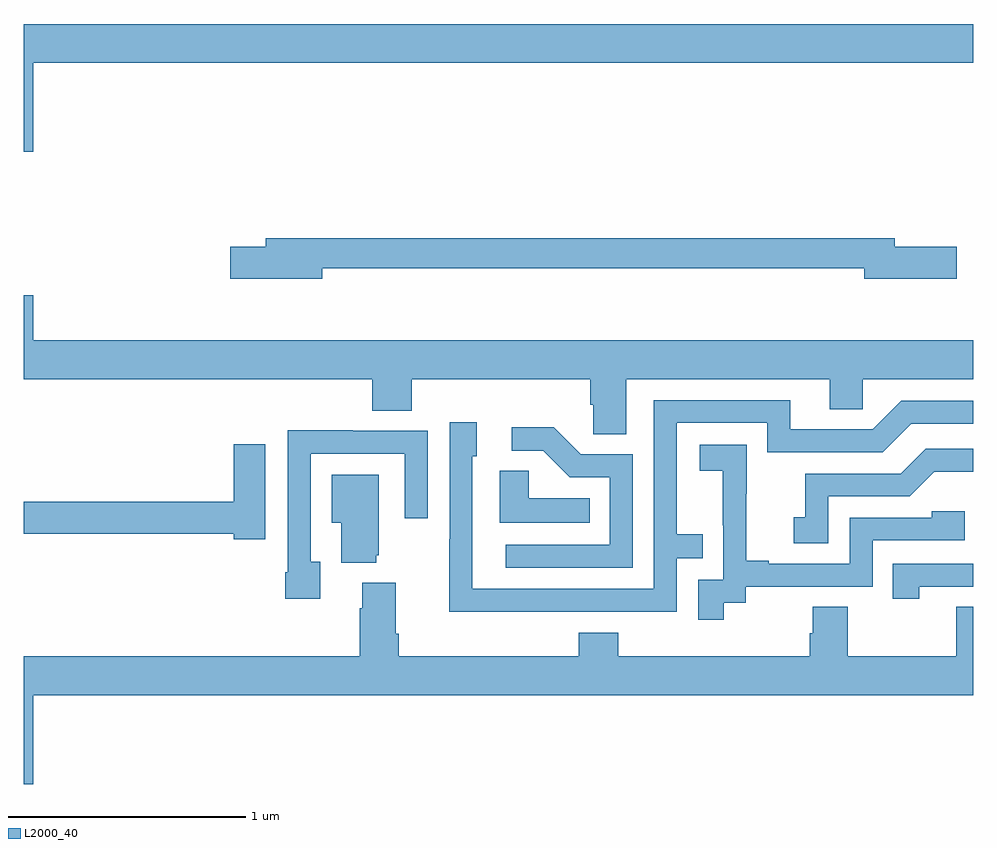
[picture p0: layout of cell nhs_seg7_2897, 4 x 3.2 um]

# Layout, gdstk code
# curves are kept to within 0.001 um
import gdstk
lib = gdstk.Library(unit=1e-6, precision=1e-09)
def P(c, l, *ps):  # polygons
    for p in ps: c.add(gdstk.Polygon(p, *l))
L2000_40 = (2000, 40)

nhs_seg7_2897 = lib.new_cell('nhs_seg7_2897')
P(nhs_seg7_2897, L2000_40, [(297.04,1023.26),(301,1023.26),(301,1023.424),(297,1023.424),(297,1022.886),(297.04,1022.886)],
  [(298.258,1022.394),(300.542,1022.394),(300.542,1022.351),(300.931,1022.351),(300.931,1022.486),(300.67,1022.486),(300.67,1022.522),(298.019,1022.522),(298.019,1022.486),(297.87,1022.486),(297.87,1022.351),(298.258,1022.351)],
  [(299.539,1021.928),(300.395,1021.928),(300.395,1021.801),(300.534,1021.801),(300.534,1021.928),(301,1021.928),(301,1022.092),(297.04,1022.092),(297.04,1022.281),(297,1022.281),(297,1021.928),(298.469,1021.928),(298.469,1021.795),(298.634,1021.795),(298.634,1021.928),(299.387,1021.928),(299.387,1021.819),(299.4,1021.819),(299.4,1021.696),(299.539,1021.696)],
  [(299.255,1020.948),(299.751,1020.948),(299.751,1021.173),(299.861,1021.173),(299.861,1021.274),(299.751,1021.274),(299.751,1021.743),(300.132,1021.743),(300.132,1021.62),(300.618,1021.62),(300.738,1021.74),(301,1021.74),(301,1021.836),(300.696,1021.836),(300.576,1021.716),(300.229,1021.716),(300.229,1021.839),(299.655,1021.839),(299.655,1021.044),(298.89,1021.044),(298.89,1021.602),(298.909,1021.602),(298.909,1021.747),(298.794,1021.747),(298.794,1021.253),(298.792,1021.253),(298.792,1020.947)],
  [(299.565,1021.611),(299.346,1021.611),(299.233,1021.724),(299.055,1021.724),(299.055,1021.626),(299.189,1021.626),(299.3,1021.515),(299.469,1021.515),(299.469,1021.23),(299.031,1021.23),(299.031,1021.134),(299.565,1021.134)],
  [(298.249,1021.158),(298.209,1021.158),(298.209,1021.614),(298.605,1021.614),(298.605,1021.341),(298.701,1021.341),(298.701,1021.71),(298.385,1021.71),(298.385,1021.712),(298.113,1021.712),(298.113,1021.114),(298.101,1021.114),(298.101,1021.002),(298.249,1021.002)],
  [(298.018,1021.654),(297.884,1021.654),(297.884,1021.412),(297,1021.412),(297,1021.276),(297.884,1021.276),(297.884,1021.253),(298.018,1021.253)],
  [(299.95,1020.985),(300.042,1020.985),(300.042,1021.053),(300.576,1021.053),(300.576,1021.248),(300.965,1021.248),(300.965,1021.371),(300.825,1021.371),(300.825,1021.344),(300.48,1021.344),(300.48,1021.149),(300.139,1021.149),(300.139,1021.162),(300.044,1021.162),(300.044,1021.445),(300.045,1021.445),(300.045,1021.651),(299.847,1021.651),(299.847,1021.541),(299.945,1021.541),(299.945,1021.313),(299.946,1021.313),(299.946,1021.083),(299.841,1021.083),(299.841,1020.915),(299.95,1020.915)],
  [(300.39,1021.434),(300.732,1021.434),(300.836,1021.538),(301,1021.538),(301,1021.635),(300.8,1021.635),(300.695,1021.53),(300.292,1021.53),(300.292,1021.345),(300.243,1021.345),(300.243,1021.236),(300.39,1021.236)],
  [(299.384,1021.426),(299.127,1021.426),(299.127,1021.541),(299.006,1021.541),(299.006,1021.322),(299.384,1021.322)],
  [(298.484,1021.185),(298.495,1021.185),(298.495,1021.525),(298.298,1021.525),(298.298,1021.322),(298.337,1021.322),(298.337,1021.154),(298.484,1021.154)],
  [(300.772,1021.053),(301,1021.053),(301,1021.149),(300.661,1021.149),(300.661,1021.002),(300.772,1021.002)],
  [(297.04,1020.596),(301,1020.596),(301,1020.968),(300.928,1020.968),(300.928,1020.76),(300.471,1020.76),(300.471,1020.968),(300.323,1020.968),(300.323,1020.858),(300.311,1020.858),(300.311,1020.76),(299.504,1020.76),(299.504,1020.859),(299.339,1020.859),(299.339,1020.76),(298.58,1020.76),(298.58,1020.856),(298.567,1020.856),(298.567,1021.069),(298.427,1021.069),(298.427,1020.962),(298.415,1020.962),(298.415,1020.76),(297,1020.76),(297,1020.222),(297.04,1020.222)])

lib.write_gds('nhs_seg7_2897.gds')
